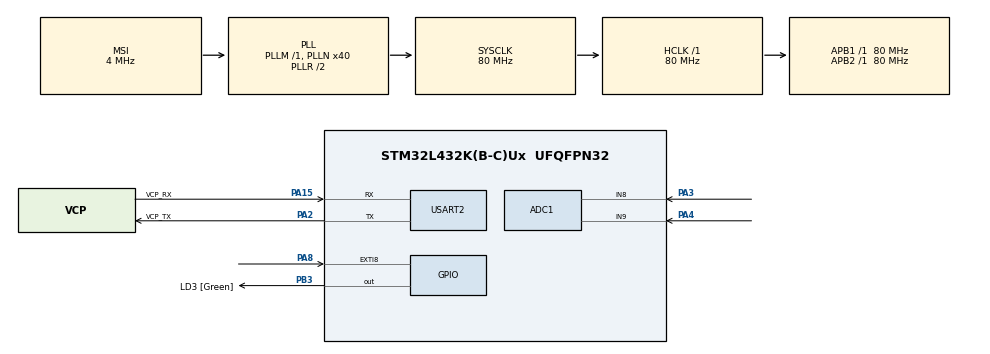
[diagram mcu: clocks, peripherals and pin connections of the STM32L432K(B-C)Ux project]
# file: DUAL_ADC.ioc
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ADC1.Channel-7\#ChannelRegularConversion=ADC_CHANNEL_8
ADC1.Channel-8\#ChannelRegularConversion=ADC_CHANNEL_9
ADC1.ClockPrescaler=ADC_CLOCK_ASYNC_DIV1
ADC1.DMAContinuousRequests=ENABLE
ADC1.ExternalTrigConv=ADC_EXTERNALTRIG_T6_TRGO
ADC1.ExternalTrigConvEdge=ADC_EXTERNALTRIGCONVEDGE_RISINGFALLING
ADC1.NbrOfConversion=2
ADC1.NbrOfConversionFlag=1
ADC1.OffsetNumber-7\#ChannelRegularConversion=ADC_OFFSET_NONE
ADC1.OffsetNumber-8\#ChannelRegularConversion=ADC_OFFSET_NONE
ADC1.Rank-7\#ChannelRegularConversion=1
ADC1.Rank-8\#ChannelRegularConversion=2
ADC1.SamplingTime-7\#ChannelRegularConversion=ADC_SAMPLETIME_640CYCLES_5
ADC1.SamplingTime-8\#ChannelRegularConversion=ADC_SAMPLETIME_640CYCLES_5
ADC1.master=1
Dma.ADC1.0.Direction=DMA_PERIPH_TO_MEMORY
Dma.ADC1.0.Instance=DMA1_Channel1
Dma.ADC1.0.MemDataAlignment=DMA_MDATAALIGN_WORD
Dma.ADC1.0.MemInc=DMA_MINC_ENABLE
Dma.ADC1.0.Mode=DMA_CIRCULAR
Dma.ADC1.0.PeriphDataAlignment=DMA_PDATAALIGN_HALFWORD
Dma.ADC1.0.PeriphInc=DMA_PINC_DISABLE
Dma.ADC1.0.Priority=DMA_PRIORITY_LOW
Dma.Request0=ADC1
Mcu.Family=STM32L4
Mcu.Name=STM32L432K(B-C)Ux
Mcu.Package=UFQFPN32
NVIC.DMA1_Channel1_IRQn=true\:0\:0\:false\:false\:true\:false\:true\:true
NVIC.EXTI9_5_IRQn=true\:0\:0\:false\:false\:true\:true\:true\:true
NVIC.PriorityGroup=NVIC_PRIORITYGROUP_4
PA0.GPIO_Label=MCO [High speed clock in]
PA0.Mode=HSE-External-Clock-Source-for-LittleOrca
PA0.Signal=RCC_CK_IN
PA13\ (JTMS-SWDIO).GPIO_Label=SWDIO
PA13\ (JTMS-SWDIO).Mode=Serial_Wire
PA13\ (JTMS-SWDIO).Signal=SYS_JTMS-SWDIO
PA14\ (JTCK-SWCLK).GPIO_Label=SWCLK
PA14\ (JTCK-SWCLK).Mode=Serial_Wire
PA14\ (JTCK-SWCLK).Signal=SYS_JTCK-SWCLK
PA15\ (JTDI).GPIO_Label=VCP_RX
PA15\ (JTDI).Mode=Asynchronous
PA15\ (JTDI).Signal=USART2_RX
PA2.GPIO_Label=VCP_TX
PA2.Mode=Asynchronous
PA2.Signal=USART2_TX
PA3.Signal=ADCx_IN8
PA4.Signal=ADCx_IN9
PA8.Signal=GPXTI8
PB3\ (JTDO-TRACESWO).GPIO_Label=LD3 [Green]
PB3\ (JTDO-TRACESWO).Signal=GPIO_Output
PC14-OSC32_IN\ (PC14).Mode=LSE-External-Oscillator
PC14-OSC32_IN\ (PC14).Signal=RCC_OSC32_IN
PC15-OSC32_OUT\ (PC15).Mode=LSE-External-Oscillator
PC15-OSC32_OUT\ (PC15).Signal=RCC_OSC32_OUT
ProjectManager.HeapSize=0x200
ProjectManager.StackSize=0x400
ProjectManager.TargetToolchain=STM32CubeIDE
RCC.ADCFreq_Value=80000000
RCC.AHBFreq_Value=80000000
RCC.APB1Freq_Value=80000000
RCC.APB1TimFreq_Value=80000000
RCC.APB2Freq_Value=80000000
RCC.APB2TimFreq_Value=80000000
RCC.CortexFreq_Value=80000000
RCC.HCLKFreq_Value=80000000
RCC.HSE_VALUE=8000000
RCC.HSI16_VALUE=16000000
RCC.HSI48_VALUE=48000000
RCC.HSI_VALUE=16000000
RCC.MSI_VALUE=4000000
RCC.PLLMUL=RCC_PLLMUL_4
RCC.PLLN=40
RCC.PLLSAI1N=40
RCC.SYSCLKFreq_VALUE=80000000
RCC.SYSCLKSource=RCC_SYSCLKSOURCE_PLLCLK
RCC.USBFreq_Value=80000000
RCC.VCOOutputFreq_Value=160000000
SH.ADCx_IN8.0=ADC1_IN8,IN8-Single-Ended
SH.ADCx_IN9.0=ADC1_IN9,IN9-Single-Ended
TIM1.Period=10000-1
TIM1.Prescaler=800-1
TIM6.Period=5000-1
TIM6.Prescaler=800-1
TIM6.TIM_MasterOutputTrigger=TIM_TRGO_UPDATE
USART2.VirtualMode-Asynchronous=VM_ASYNC
VP_TIM1_VS_ClockSourceINT.Mode=Internal
VP_TIM6_VS_ClockSourceINT.Mode=Enable_Timer
board=NUCLEO-L432KC

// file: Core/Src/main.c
/* USER CODE BEGIN Header */
/**
  ******************************************************************************
  * @file           : main.c
  * @brief          : Main program body
  ******************************************************************************
  * @attention
  *
  * Copyright (c) 2025 STMicroelectronics.
  * All rights reserved.
  *
  * This software is licensed under terms that can be found in the LICENSE file
  * in the root directory of this software component.
  * If no LICENSE file comes with this software, it is provided AS-IS.
  *
  ******************************************************************************
  */
/* USER CODE END Header */
#include "main.h"

/* USER CODE BEGIN Includes */
#include <stdio.h>
#include <string.h>
/* USER CODE END Includes */

/* USER CODE BEGIN PD */
#define BUFFER_SIZE 4
/* USER CODE END PD */

ADC_HandleTypeDef hadc1;
DMA_HandleTypeDef hdma_adc1;

TIM_HandleTypeDef htim1;
TIM_HandleTypeDef htim6;

UART_HandleTypeDef huart2;

/* USER CODE BEGIN PV */
uint32_t adc_buffer[BUFFER_SIZE];
uint32_t uart_ready;
uint32_t timer_value;
uint32_t serial_timer;
uint8_t arming_system = 0;
uint8_t sending_data = 0;
char msg[50];
/* USER CODE END PV */

void SystemClock_Config(void);
static void MX_GPIO_Init(void);
static void MX_DMA_Init(void);
static void MX_USART2_UART_Init(void);
static void MX_ADC1_Init(void);
static void MX_TIM6_Init(void);
static void MX_TIM1_Init(void);

/* USER CODE BEGIN 0 */
void HAL_GPIO_EXTI_Callback(uint16_t GPIO_Pin)
{
	if (GPIO_Pin == GPIO_PIN_8)
	{
		// debouncing
		static uint32_t last_tick = 0; // Store the last tick time
		uint32_t current_tick = HAL_GetTick();

		if ((current_tick - last_tick) > 50)
		{
			last_tick = current_tick; // Update the last tick time
			if (arming_system == 0)
			{
				// start sending data
				sending_data = 1;
				HAL_GPIO_WritePin(LD3_GPIO_Port, LD3_Pin, SET);
				snprintf(msg, sizeof(msg), "ARMED\r\n");
				HAL_UART_Transmit(&huart2, (uint8_t *)msg, strlen(msg), HAL_MAX_DELAY);
				arming_system = 1;

				serial_timer = 0;
				snprintf(msg, sizeof(msg), "%lu, %lu, %lu\r\n", serial_timer, adc_buffer[0], adc_buffer[1]);
				HAL_UART_Transmit(&huart2, (uint8_t *)msg, strlen(msg), HAL_MAX_DELAY);
			}
			else
			{
				// stop sending data
				sending_data = 0;
				HAL_GPIO_WritePin(LD3_GPIO_Port, LD3_Pin, RESET);
				snprintf(msg, sizeof(msg), "DISARMED\r\n");
				HAL_UART_Transmit(&huart2, (uint8_t *)msg, strlen(msg), HAL_MAX_DELAY);
				arming_system = 0;
			}
		}
	}
}
/* USER CODE END 0 */

int main(void)
{

  /* MCU Configuration--------------------------------------------------------*/

  /* Reset of all peripherals, Initializes the Flash interface and the Systick. */
  HAL_Init();

  /* Configure the system clock */
  SystemClock_Config();

  /* Initialize all configured peripherals */
  MX_GPIO_Init();
  MX_DMA_Init();
  MX_USART2_UART_Init();
  MX_ADC1_Init();
  MX_TIM6_Init();
  MX_TIM1_Init();
  /* USER CODE BEGIN 2 */
  // Initiate clock timer TIM1
  HAL_TIM_Base_Start(&htim1);
  HAL_TIM_Base_Start(&htim6);

  // initiate ADC Transfer to DMA, clocked by the compare register
  HAL_ADC_Start_DMA(&hadc1, (uint32_t *) adc_buffer, BUFFER_SIZE);

  /* USER CODE END 2 */

  /* Infinite loop */
  /* USER CODE BEGIN WHILE */
  while (1)
  {
	  // Format ADC values into a string
	  if (uart_ready && sending_data == 1)
	  {
		  /* data format: sensor1_conductive_data_ADC,sensor2_thermistor_data_ADC,time*/
		  serial_timer = serial_timer + 1;
		  snprintf(msg, sizeof(msg), "%lu, %lu, %lu\r\n", serial_timer, adc_buffer[0], adc_buffer[1]);
		  HAL_UART_Transmit(&huart2, (uint8_t *)msg, strlen(msg), HAL_MAX_DELAY);
		  uart_ready = 0;
	  }

    /* USER CODE END WHILE */

  }
}

void SystemClock_Config(void)
{
  RCC_OscInitTypeDef RCC_OscInitStruct = {0};
  RCC_ClkInitTypeDef RCC_ClkInitStruct = {0};

  /** Configure the main internal regulator output voltage
  */
  if (HAL_PWREx_ControlVoltageScaling(PWR_REGULATOR_VOLTAGE_SCALE1) != HAL_OK)
  {
    Error_Handler();
  }

  /** Configure LSE Drive Capability
  */
  HAL_PWR_EnableBkUpAccess();
  __HAL_RCC_LSEDRIVE_CONFIG(RCC_LSEDRIVE_LOW);

  /** Initializes the RCC Oscillators according to the specified parameters
  * in the RCC_OscInitTypeDef structure.
  */
  RCC_OscInitStruct.OscillatorType = RCC_OSCILLATORTYPE_LSE|RCC_OSCILLATORTYPE_MSI;
  RCC_OscInitStruct.LSEState = RCC_LSE_ON;
  RCC_OscInitStruct.MSIState = RCC_MSI_ON;
  RCC_OscInitStruct.MSICalibrationValue = 0;
  RCC_OscInitStruct.MSIClockRange = RCC_MSIRANGE_6;
  RCC_OscInitStruct.PLL.PLLState = RCC_PLL_ON;
  RCC_OscInitStruct.PLL.PLLSource = RCC_PLLSOURCE_MSI;
  RCC_OscInitStruct.PLL.PLLM = 1;
  RCC_OscInitStruct.PLL.PLLN = 40;
  RCC_OscInitStruct.PLL.PLLP = RCC_PLLP_DIV7;
  RCC_OscInitStruct.PLL.PLLQ = RCC_PLLQ_DIV2;
  RCC_OscInitStruct.PLL.PLLR = RCC_PLLR_DIV2;
  if (HAL_RCC_OscConfig(&RCC_OscInitStruct) != HAL_OK)
  {
    Error_Handler();
  }

  /** Initializes the CPU, AHB and APB buses clocks
  */
  RCC_ClkInitStruct.ClockType = RCC_CLOCKTYPE_HCLK|RCC_CLOCKTYPE_SYSCLK
                              |RCC_CLOCKTYPE_PCLK1|RCC_CLOCKTYPE_PCLK2;
  RCC_ClkInitStruct.SYSCLKSource = RCC_SYSCLKSOURCE_PLLCLK;
  RCC_ClkInitStruct.AHBCLKDivider = RCC_SYSCLK_DIV1;
  RCC_ClkInitStruct.APB1CLKDivider = RCC_HCLK_DIV1;
  RCC_ClkInitStruct.APB2CLKDivider = RCC_HCLK_DIV1;

  if (HAL_RCC_ClockConfig(&RCC_ClkInitStruct, FLASH_LATENCY_4) != HAL_OK)
  {
    Error_Handler();
  }

  /** Enable MSI Auto calibration
  */
  HAL_RCCEx_EnableMSIPLLMode();
}

static void MX_ADC1_Init(void)
{

  ADC_ChannelConfTypeDef sConfig = {0};

  /** Common config
  */
  hadc1.Instance = ADC1;
  hadc1.Init.ClockPrescaler = ADC_CLOCK_ASYNC_DIV1;
  hadc1.Init.Resolution = ADC_RESOLUTION_12B;
  hadc1.Init.DataAlign = ADC_DATAALIGN_RIGHT;
  hadc1.Init.ScanConvMode = ADC_SCAN_ENABLE;
  hadc1.Init.EOCSelection = ADC_EOC_SINGLE_CONV;
  hadc1.Init.LowPowerAutoWait = DISABLE;
  hadc1.Init.ContinuousConvMode = DISABLE;
  hadc1.Init.NbrOfConversion = 2;
  hadc1.Init.DiscontinuousConvMode = DISABLE;
  hadc1.Init.ExternalTrigConv = ADC_EXTERNALTRIG_T6_TRGO;
  hadc1.Init.ExternalTrigConvEdge = ADC_EXTERNALTRIGCONVEDGE_RISINGFALLING;
  hadc1.Init.DMAContinuousRequests = ENABLE;
  hadc1.Init.Overrun = ADC_OVR_DATA_PRESERVED;
  hadc1.Init.OversamplingMode = DISABLE;
  if (HAL_ADC_Init(&hadc1) != HAL_OK)
  {
    Error_Handler();
  }

  /** Configure Regular Channel
  */
  sConfig.Channel = ADC_CHANNEL_8;
  sConfig.Rank = ADC_REGULAR_RANK_1;
  sConfig.SamplingTime = ADC_SAMPLETIME_640CYCLES_5;
  sConfig.SingleDiff = ADC_SINGLE_ENDED;
  sConfig.OffsetNumber = ADC_OFFSET_NONE;
  sConfig.Offset = 0;
  if (HAL_ADC_ConfigChannel(&hadc1, &sConfig) != HAL_OK)
  {
    Error_Handler();
  }

  /** Configure Regular Channel
  */
  sConfig.Channel = ADC_CHANNEL_9;
  sConfig.Rank = ADC_REGULAR_RANK_2;
  if (HAL_ADC_ConfigChannel(&hadc1, &sConfig) != HAL_OK)
  {
    Error_Handler();
  }

}

static void MX_TIM1_Init(void)
{

  TIM_ClockConfigTypeDef sClockSourceConfig = {0};
  TIM_MasterConfigTypeDef sMasterConfig = {0};

  htim1.Instance = TIM1;
  htim1.Init.Prescaler = 800-1;
  htim1.Init.CounterMode = TIM_COUNTERMODE_UP;
  htim1.Init.Period = 10000-1;
  htim1.Init.ClockDivision = TIM_CLOCKDIVISION_DIV1;
  htim1.Init.RepetitionCounter = 0;
  htim1.Init.AutoReloadPreload = TIM_AUTORELOAD_PRELOAD_DISABLE;
  if (HAL_TIM_Base_Init(&htim1) != HAL_OK)
  {
    Error_Handler();
  }
  sClockSourceConfig.ClockSource = TIM_CLOCKSOURCE_INTERNAL;
  if (HAL_TIM_ConfigClockSource(&htim1, &sClockSourceConfig) != HAL_OK)
  {
    Error_Handler();
  }
  sMasterConfig.MasterOutputTrigger = TIM_TRGO_RESET;
  sMasterConfig.MasterOutputTrigger2 = TIM_TRGO2_RESET;
  sMasterConfig.MasterSlaveMode = TIM_MASTERSLAVEMODE_DISABLE;
  if (HAL_TIMEx_MasterConfigSynchronization(&htim1, &sMasterConfig) != HAL_OK)
  {
    Error_Handler();
  }

}

static void MX_TIM6_Init(void)
{

  TIM_MasterConfigTypeDef sMasterConfig = {0};

  htim6.Instance = TIM6;
  htim6.Init.Prescaler = 800-1;
  htim6.Init.CounterMode = TIM_COUNTERMODE_UP;
  htim6.Init.Period = 5000-1;
  htim6.Init.AutoReloadPreload = TIM_AUTORELOAD_PRELOAD_DISABLE;
  if (HAL_TIM_Base_Init(&htim6) != HAL_OK)
  {
    Error_Handler();
  }
  sMasterConfig.MasterOutputTrigger = TIM_TRGO_UPDATE;
  sMasterConfig.MasterSlaveMode = TIM_MASTERSLAVEMODE_DISABLE;
  if (HAL_TIMEx_MasterConfigSynchronization(&htim6, &sMasterConfig) != HAL_OK)
  {
    Error_Handler();
  }

}

static void MX_USART2_UART_Init(void)
{

  huart2.Instance = USART2;
  huart2.Init.BaudRate = 115200;
  huart2.Init.WordLength = UART_WORDLENGTH_8B;
  huart2.Init.StopBits = UART_STOPBITS_1;
  huart2.Init.Parity = UART_PARITY_NONE;
  huart2.Init.Mode = UART_MODE_TX_RX;
  huart2.Init.HwFlowCtl = UART_HWCONTROL_NONE;
  huart2.Init.OverSampling = UART_OVERSAMPLING_16;
  huart2.Init.OneBitSampling = UART_ONE_BIT_SAMPLE_DISABLE;
  huart2.AdvancedInit.AdvFeatureInit = UART_ADVFEATURE_NO_INIT;
  if (HAL_UART_Init(&huart2) != HAL_OK)
  {
    Error_Handler();
  }

}

static void MX_DMA_Init(void)
{

  /* DMA controller clock enable */
  __HAL_RCC_DMA1_CLK_ENABLE();

  /* DMA interrupt init */
  /* DMA1_Channel1_IRQn interrupt configuration */
  HAL_NVIC_SetPriority(DMA1_Channel1_IRQn, 0, 0);
  HAL_NVIC_EnableIRQ(DMA1_Channel1_IRQn);

}

static void MX_GPIO_Init(void)
{
  GPIO_InitTypeDef GPIO_InitStruct = {0};

  /* GPIO Ports Clock Enable */
  __HAL_RCC_GPIOC_CLK_ENABLE();
  __HAL_RCC_GPIOA_CLK_ENABLE();
  __HAL_RCC_GPIOB_CLK_ENABLE();

  /*Configure GPIO pin Output Level */
  HAL_GPIO_WritePin(LD3_GPIO_Port, LD3_Pin, GPIO_PIN_RESET);

  /*Configure GPIO pin : PA8 */
  GPIO_InitStruct.Pin = GPIO_PIN_8;
  GPIO_InitStruct.Mode = GPIO_MODE_IT_RISING;
  GPIO_InitStruct.Pull = GPIO_NOPULL;
  HAL_GPIO_Init(GPIOA, &GPIO_InitStruct);

  /*Configure GPIO pin : LD3_Pin */
  GPIO_InitStruct.Pin = LD3_Pin;
  GPIO_InitStruct.Mode = GPIO_MODE_OUTPUT_PP;
  GPIO_InitStruct.Pull = GPIO_NOPULL;
  GPIO_InitStruct.Speed = GPIO_SPEED_FREQ_LOW;
  HAL_GPIO_Init(LD3_GPIO_Port, &GPIO_InitStruct);

  /* EXTI interrupt init*/
  HAL_NVIC_SetPriority(EXTI9_5_IRQn, 0, 0);
  HAL_NVIC_EnableIRQ(EXTI9_5_IRQn);

}

/* USER CODE BEGIN 4 */
void HAL_ADC_ConvCpltCallback(ADC_HandleTypeDef *hadc)
{

}

void HAL_ADC_ConvHalfCpltCallback(ADC_HandleTypeDef *hadc)
{
	uart_ready = 1;
}

/* USER CODE END 4 */

void Error_Handler(void)
{
  __disable_irq();
  while (1)
  {
  }
}
